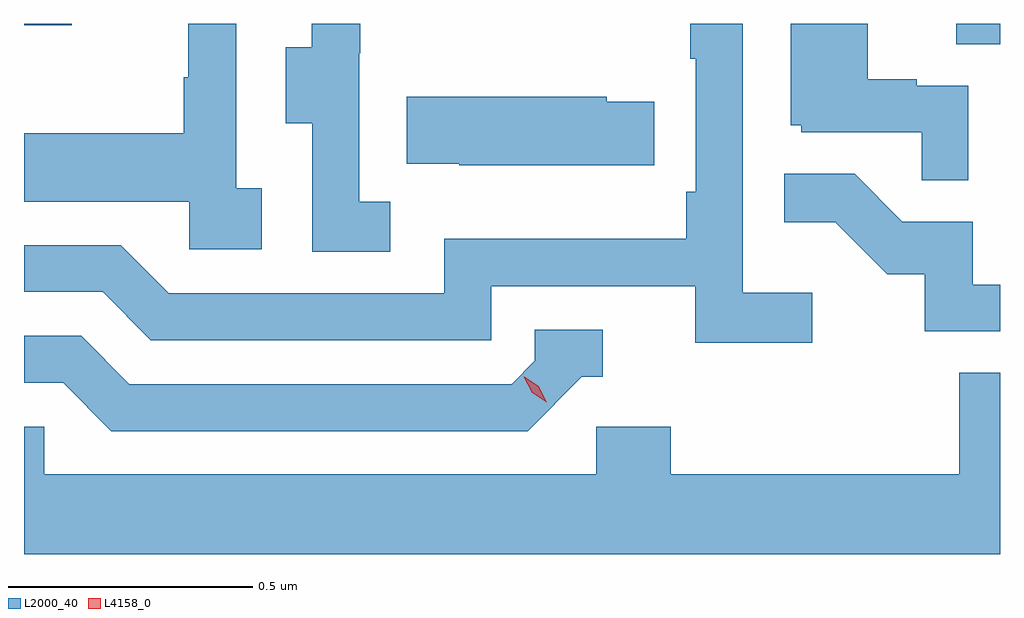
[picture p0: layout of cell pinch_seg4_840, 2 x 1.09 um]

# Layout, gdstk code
import gdstk
lib = gdstk.Library(unit=1e-6, precision=1e-09)
def R(c, l, rs):  # rectangles x0, y0, x1, y1
    for r in rs: c.add(gdstk.rectangle(r[:2], r[2:], *l))
def P(c, l, *ps):  # polygons
    for p in ps: c.add(gdstk.Polygon(p, *l))
L2000_40 = (2000, 40)
L4158_0 = (4158, 0)

pinch_seg4_840 = lib.new_cell('pinch_seg4_840')
R(pinch_seg4_840, L2000_40, [(820.361,803.194,820.451,803.236), (818.451,803.232,818.549,803.236)])
P(pinch_seg4_840, L2000_40, [(818.938,802.898),(818.886,802.898),(818.886,803.236),(818.788,803.236),(818.788,803.126),(818.778,803.126),(818.778,803.011),(818.451,803.011),(818.451,802.871),(818.79,802.871),(818.79,802.773),(818.938,802.773)],
  [(819.202,802.871),(819.138,802.871),(819.138,803.175),(819.14,803.175),(819.14,803.236),(819.041,803.236),(819.041,803.187),(818.987,803.187),(818.987,803.032),(819.042,803.032),(819.042,802.768),(819.202,802.768)],
  [(820.386,803.109),(820.28,803.109),(820.28,803.122),(820.18,803.122),(820.18,803.236),(820.022,803.236),(820.022,803.028),(820.044,803.028),(820.044,803.013),(820.291,803.013),(820.291,802.915),(820.386,802.915)],
  [(820.066,802.684),(819.924,802.684),(819.924,803.236),(819.816,803.236),(819.816,803.164),(819.828,803.164),(819.828,802.891),(819.808,802.891),(819.808,802.795),(819.312,802.795),(819.312,802.683),(818.748,802.683),(818.649,802.782),(818.451,802.782),(818.451,802.686),(818.612,802.686),(818.711,802.587),(819.408,802.587),(819.408,802.698),(819.827,802.698),(819.827,802.582),(820.066,802.582)],
  [(819.743,803.076),(819.645,803.076),(819.645,803.086),(819.235,803.086),(819.235,802.949),(819.343,802.949),(819.343,802.946),(819.743,802.946)],
  [(820.451,802.701),(820.395,802.701),(820.395,802.83),(820.251,802.83),(820.153,802.928),(820.009,802.928),(820.009,802.829),(820.113,802.829),(820.22,802.722),(820.297,802.722),(820.297,802.605),(820.451,802.605)],
  [(819.594,802.512),(819.637,802.512),(819.637,802.608),(819.498,802.608),(819.498,802.545),(819.45,802.497),(818.667,802.497),(818.568,802.596),(818.451,802.596),(818.451,802.5),(818.531,802.5),(818.63,802.401),(819.483,802.401)],
  [(820.451,802.52),(820.367,802.52),(820.367,802.312),(819.776,802.312),(819.776,802.41),(819.624,802.41),(819.624,802.312),(818.493,802.312),(818.493,802.41),(818.451,802.41),(818.451,802.148),(820.451,802.148)])
P(pinch_seg4_840, L4158_0, [(819.522,802.46),(819.492,802.479),(819.475,802.512),(819.475,802.512),(819.476,802.512),(819.506,802.493),(819.522,802.46),(819.522,802.46)])

lib.write_gds('pinch_seg4_840.gds')
